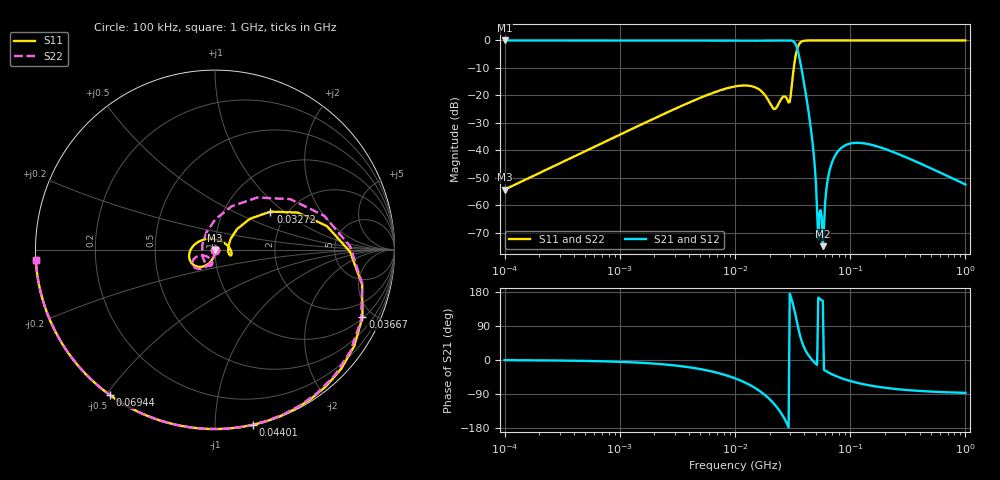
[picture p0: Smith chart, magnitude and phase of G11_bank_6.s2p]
# HZ S RI R 50
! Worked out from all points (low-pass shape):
!   405 points, 100 kHz to 1 GHz, reference 50 ohm
!   highest |S21| = 0.00 dB at 100 kHz (marker M1); lowest = -74.9 dB at 57.86 MHz (marker M2)
!   |S21| within 3 dB of the highest: start of sweep to 34.67 MHz
!   lowest |S11| = -54.3 dB at 100 kHz (marker M3), VSWR 1.00, Z = 50 - j0.194 ohm
!   |S11| at or under -10 dB: start of sweep to 32.39 MHz
!   |S22| runs from -54.3 to 0.0 dB; largest |S21 - S12| = 5.7e-16
!   S11 on the Smith chart (normalised r, x): 100 kHz: 1.00, -0.00; 32.72 MHz: 1.64, +0.81; 36.67 MHz: 1.05, -4.33; 44.01 MHz: 0.00, -1.24; 69.44 MHz: 0.00, -0.51; 1 GHz: 0.00, -0.03
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100000  -1.75e-05 -0.00194  1 -0.00837  1 -0.00837  -1.49e-05 -0.00194
471267.3  -0.000388 -0.00911  0.9992 -0.0394  0.9992 -0.0394  -0.000331 -0.00911
2170869  -0.0081 -0.0407  0.9827 -0.1806  0.9827 -0.1806  -0.0069 -0.0409
1e7  -0.1168 -0.087  0.6577 -0.7391  0.6577 -0.7391  -0.1 -0.1059
1.577683e7  -0.1329 0.00407  0.1987 -0.971  0.1987 -0.971  -0.1206 -0.0559
2.170869e7  0.00746 0.0564  -0.4204 -0.9055  -0.4204 -0.9055  -0.0383 -0.0421
2.853945e7  0.0784 -0.0267  -0.9832 -0.1624  -0.9832 -0.1624  -0.0656 -0.0505
3.055966e7  0.0874 0.0606  -0.9649 0.2401  -0.9649 0.2401  -0.0488 0.0945
3.272288e7  0.3084 0.2117  -0.6287 0.6818  -0.6287 0.6818  0.236 0.2903
3.424944e7  0.6236 0.1309  -0.1932 0.7461  -0.1932 0.7461  0.6087 0.1883
3.667384e7  0.8215 -0.377  0.1823 0.387  0.1823 0.387  0.8138 -0.3933
4.017542e7  0.5319 -0.8342  0.1253 0.0739  0.1253 0.0739  0.4727 -0.8691
4.401132e7  0.212 -0.9763  0.0419 0.00729  0.0419 0.00729  0.1304 -0.9905
4.712673e7  0.02 -0.9997  0.0138 -0.000306  0.0138 -0.000306  -0.0644 -0.9978
5.281682e7  -0.2264 -0.974  -0.000229 6.31e-05  -0.000229 6.31e-05  -0.3043 -0.9526
5.528079e7  -0.3051 -0.9523  -0.000765 0.000279  -0.000765 0.000279  -0.3788 -0.9255
5.785971e7  -0.3748 -0.9271  -0.000165 7.4e-05  -0.000165 7.4e-05  -0.444 -0.896
6.48457e7  -0.5173 -0.8558  0.00295 -0.00192  0.00295 -0.00192  -0.5749 -0.8182
6.943591e7  -0.5852 -0.8108  0.00474 -0.00366  0.00474 -0.00366  -0.6364 -0.7714
1e8  -0.81 -0.5863  0.00755 -0.0109  0.00755 -0.0109  -0.8357 -0.5491
2.170869e8  -0.9611 -0.2761  0.00266 -0.00963  0.00266 -0.00963  -0.9666 -0.2561
1e9  -0.9982 -0.0602  0.000139 -0.0024  0.000139 -0.0024  -0.9984 -0.0557
